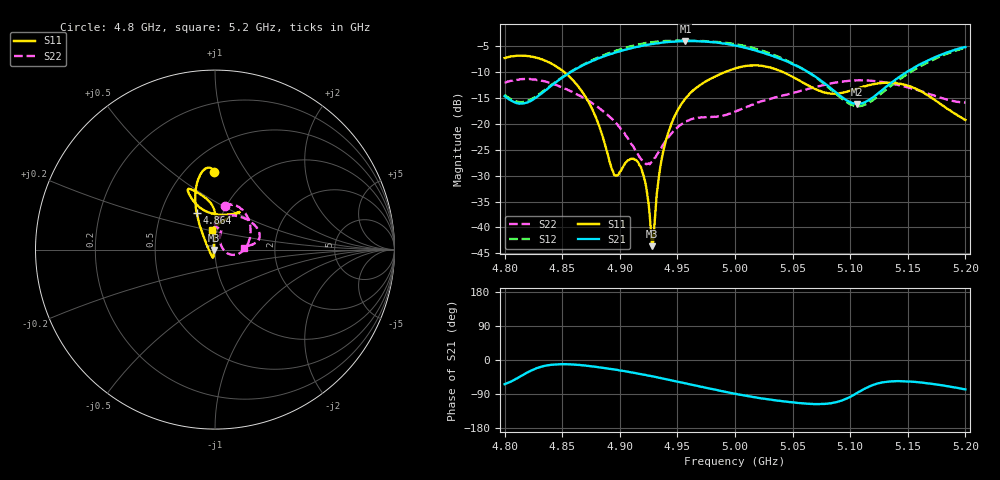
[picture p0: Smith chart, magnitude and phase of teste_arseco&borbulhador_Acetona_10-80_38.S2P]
! Network Analyzer HP8722D
! Hewlett-Packard
! Data name: Linha & Wilkinson
! Saver's name: Rodrigo Anjos
! Comments: Teste da utilização de aquisição
! continua pelo VNA HP8722D
! Time and date: 25/4/2025 15:35
!  Frequency  S11  S21  S12  S22
# HZ  S  MA R 50
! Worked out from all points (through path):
!   401 points, 4.8 GHz to 5.2 GHz, reference 50 ohm
!   highest |S21| = -3.96 dB at 4.957 GHz (marker M1); lowest = -16.1 dB at 5.106 GHz (marker M2)
!   lowest |S11| = -43.6 dB at 4.928 GHz (marker M3), VSWR 1.01, Z = 49.4 - j0.187 ohm
!   |S11| at or under -10 dB: 4.852 GHz to 4.991 GHz (139.1 MHz wide, 2.83 % of centre); 5.042 GHz to end of sweep
!   |S22| runs from -27.8 to -11.3 dB; largest |S21 - S12| = 1.2
!   S11 on the Smith chart (normalised r, x): 4.8 GHz: 0.68, +0.73; 4.864 GHz: 0.75, +0.33; 5.2 GHz: 0.94, +0.20
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4.8e9  0.434 90.5  0.1859 -63.8  0.1911 69.7  0.2503 77.4
4.82e9  0.4528 96.8  0.1619 -32.5  0.1677 98.4  0.2715 61.5
4.844e9  0.3651 106.6  0.2506 -11.7  0.2538 119.1  0.2395 35.6
4.864e9  0.2304 116.4  0.3501 -12.9  0.353 121.0  0.1899 12.0
4.867e9  0.2072 118.1  0.3647 -13.9  0.3682 120.7  0.1829 8.6
4.88e9  0.1099 128.6  0.4242 -18.5  0.4341 118.1  0.1483 -5.4
4.895e9  0.03226 -171.7  0.487 -24.9  0.5038 113.7  0.1063 -15.9
4.909e9  0.04567 -105.9  0.536 -32.1  0.5625 107.6  0.0669 -14.8
4.917e9  0.04011 -102.0  0.5621 -36.7  0.5901 103.5  0.04814 -1.9
4.923e9  0.02427 -107.9  0.578 -39.9  0.6084 99.9  0.04082 20.0
4.928e9  0.006589 -163.3  0.5926 -43.0  0.6183 96.9  0.04323 41.4
4.93e9  0.01024 123.9  0.5965 -44.3  0.6208 95.6  0.04655 48.6
4.934e9  0.03131 99.2  0.6057 -46.9  0.6303 93.2  0.05439 58.3
4.943e9  0.08841 90.4  0.6215 -52.6  0.6365 87.4  0.07652 69.3
4.957e9  0.1764 89.0  0.634 -61.5  0.6407 78.4  0.1055 71.6
5e9  0.3444 109.0  0.5736 -89.0  0.5938 50.6  0.1316 88.6
5.03e9  0.3529 115.0  0.4657 -104.1  0.4817 33.8  0.1737 85.4
5.067e9  0.2253 104.9  0.3015 -115.9  0.2986 23.5  0.2225 57.1
5.106e9  0.2193 64.2  0.1563 -87.0  0.1487 56.0  0.2636 24.8
5.134e9  0.2504 56.8  0.2416 -56.7  0.2272 88.7  0.2479 12.4
5.169e9  0.1841 69.4  0.4189 -62.2  0.4031 84.8  0.1944 6.9
5.2e9  0.1093 100.1  0.5546 -77.6  0.5456 70.1  0.1608 3.9
